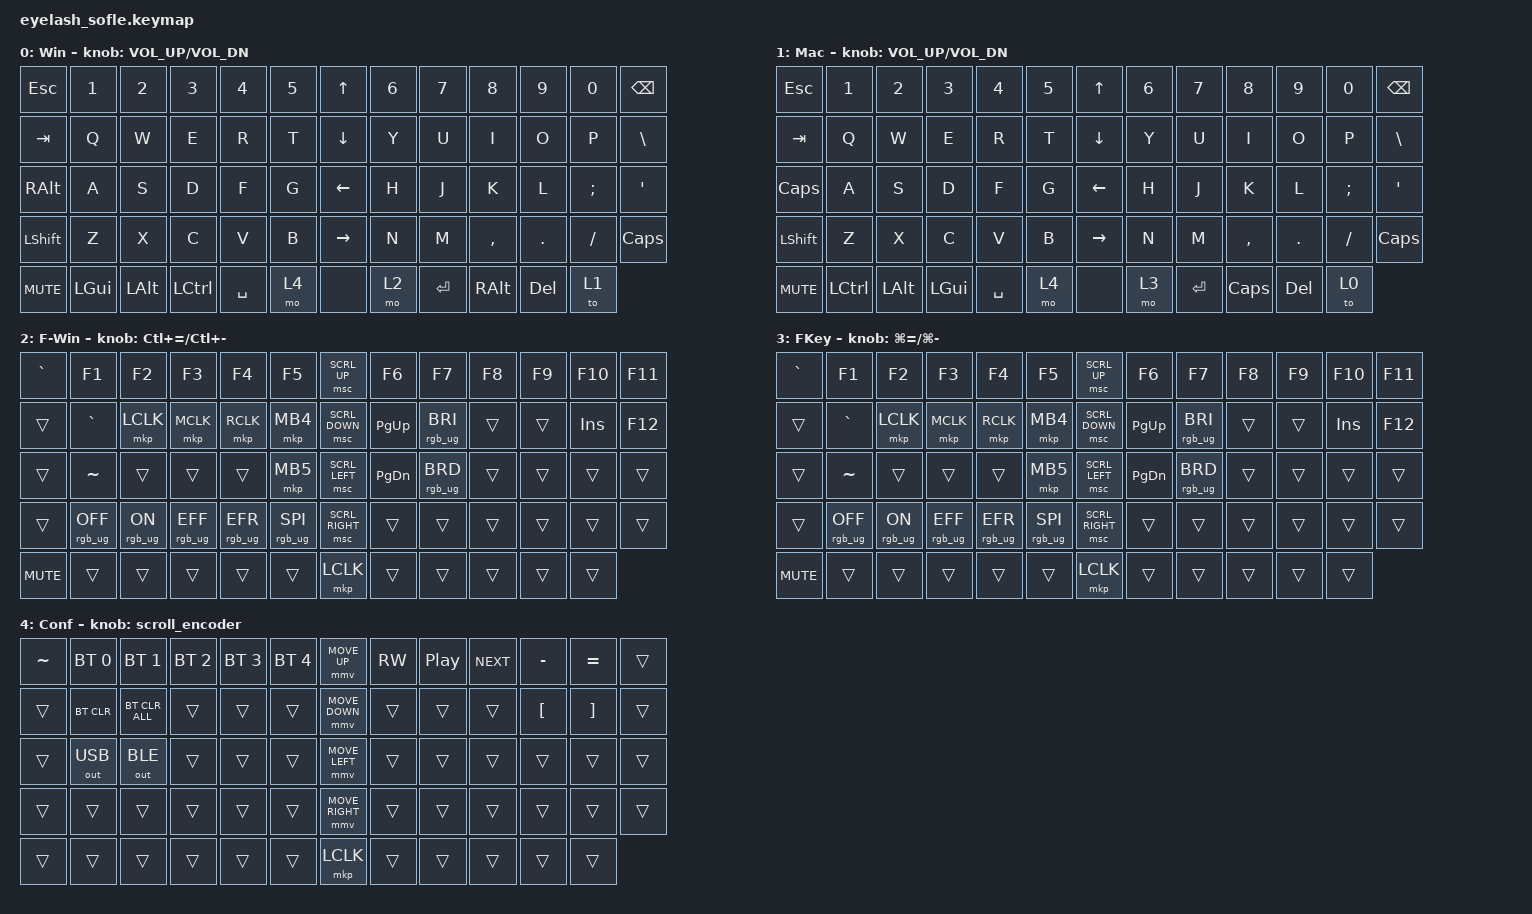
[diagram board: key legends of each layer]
#define ZMK_POINTING_DEFAULT_MOVE_VAL 1200  // 600
#define ZMK_POINTING_DEFAULT_SCRL_VAL 35    // 10

#include <input/processors.dtsi>
#include <zephyr/dt-bindings/input/input-event-codes.h>
#include <behaviors.dtsi>
#include <dt-bindings/zmk/bt.h>
#include <dt-bindings/zmk/keys.h>
#include <dt-bindings/zmk/outputs.h>
#include <dt-bindings/zmk/pointing.h>
#include <dt-bindings/zmk/rgb.h>

/ {
    zip_scroll_scaler: zip_scroll_scaler {
        compatible = "zmk,input-processor-scaler";
        #input-processor-cells = <2>;
        type = <INPUT_EV_REL>;
        codes = <INPUT_REL_WHEEL INPUT_REL_HWHEEL>;
        track-remainders;
    };
};

&mmv_input_listener { input-processors = <&zip_xy_scaler 2 1>; };

&msc_input_listener { input-processors = <&zip_scroll_scaler 2 1>; };

&msc {
    acceleration-exponent = <0>;      // 0
    time-to-max-speed-ms = <0>;       // 300
    delay-ms = <0>;                   // 0
};

&mmv {
    time-to-max-speed-ms = <400>;
    acceleration-exponent = <1>;
};

/ {
    scroll_encoder: scroll_encoder {
        compatible = "zmk,behavior-sensor-rotate";
        #sensor-binding-cells = <0>;
        bindings = <&msc SCRL_DOWN>, <&msc SCRL_UP>;

        tap-ms = <30>;
    };

    macros {
        shift_MB3: shift_MB3 {
            compatible = "zmk,behavior-macro";
            #binding-cells = <0>;
            bindings =
                <&macro_press>,
                <&kp LEFT_SHIFT>,
                <&macro_press>,
                <&mkp MB3>,
                <&macro_pause_for_release>,
                <&macro_release>,
                <&mkp MB3 &kp LEFT_SHIFT>;

            label = "SHIFT_MB3";
        };
    };

    behaviors {
    };

    keymap {
        compatible = "zmk,keymap";

        Windows {
            bindings = <
&kp ESC     &kp N1        &kp N2        &kp N3            &kp N4     &kp N5    &kp UP_ARROW     &kp N6  &kp N7     &kp N8         &kp N9      &kp N0    &kp BACKSPACE
&kp TAB     &kp Q         &kp W         &kp E             &kp R      &kp T     &kp DOWN_ARROW   &kp Y   &kp U      &kp I          &kp O       &kp P     &kp BSLH
&kp RALT    &kp A         &kp S         &kp D             &kp F      &kp G     &kp LEFT_ARROW   &kp H   &kp J      &kp K          &kp L       &kp SEMI  &kp APOS
&kp LSHFT   &kp Z         &kp X         &kp C             &kp V      &kp B     &kp RIGHT_ARROW  &kp N   &kp M      &kp COMMA      &kp DOT     &kp FSLH  &kp CAPS
&kp C_MUTE  &kp LEFT_GUI  &kp LEFT_ALT  &kp LEFT_CONTROL  &kp SPACE  &mo 4     &none            &mo 2   &kp ENTER  &kp RIGHT_ALT  &kp DELETE  &to 1
            >;

            sensor-bindings = <&inc_dec_kp C_VOLUME_UP C_VOL_DN>;
            display-name = "Win";
        };

        Mac {
            display-name = "Mac";
            bindings = <
&kp ESC     &kp N1            &kp N2        &kp N3        &kp N4     &kp N5    &kp UP_ARROW     &kp N6  &kp N7     &kp N8        &kp N9      &kp N0    &kp BACKSPACE
&kp TAB     &kp Q             &kp W         &kp E         &kp R      &kp T     &kp DOWN_ARROW   &kp Y   &kp U      &kp I         &kp O       &kp P     &kp BSLH
&kp CAPS    &kp A             &kp S         &kp D         &kp F      &kp G     &kp LEFT_ARROW   &kp H   &kp J      &kp K         &kp L       &kp SEMI  &kp APOS
&kp LSHFT   &kp Z             &kp X         &kp C         &kp V      &kp B     &kp RIGHT_ARROW  &kp N   &kp M      &kp COMMA     &kp DOT     &kp FSLH  &kp CAPS
&kp C_MUTE  &kp LEFT_CONTROL  &kp LEFT_ALT  &kp LEFT_GUI  &kp SPACE  &mo 4     &none            &mo 3   &kp ENTER  &kp CAPSLOCK  &kp DELETE  &to 0
            >;

            sensor-bindings = <&inc_dec_kp C_VOLUME_UP C_VOL_DN>;
        };

        Function-Win {
            label = "F-Win";
            display-name = "F-Win";
            bindings = <
&kp GRAVE   &kp F1           &kp F2          &kp F3           &kp F4           &kp F5             &msc SCRL_UP     &kp F6     &kp F7           &kp F8  &kp F9  &kp F10  &kp F11
&trans      &kp GRAVE        &mkp LCLK       &mkp MCLK        &mkp RCLK        &mkp MB4           &msc SCRL_DOWN   &kp PG_UP  &rgb_ug RGB_BRI  &trans  &trans  &kp INS  &kp F12
&trans      &kp TILDE        &trans          &trans           &trans           &mkp MB5           &msc SCRL_LEFT   &kp PG_DN  &rgb_ug RGB_BRD  &trans  &trans  &trans   &trans
&trans      &rgb_ug RGB_OFF  &rgb_ug RGB_ON  &rgb_ug RGB_EFF  &rgb_ug RGB_EFR  &rgb_ug RGB_SPI    &msc SCRL_RIGHT  &trans     &trans           &trans  &trans  &trans   &trans
&kp C_MUTE  &trans           &trans          &trans           &trans           &trans             &mkp LCLK        &trans     &trans           &trans  &trans  &trans
            >;

            sensor-bindings = <&inc_dec_kp LC(EQUAL) LC(MINUS)>;
        };

        Function-Mac {
            display-name = "FKey";
            bindings = <
&kp GRAVE   &kp F1           &kp F2          &kp F3           &kp F4           &kp F5             &msc SCRL_UP     &kp F6     &kp F7           &kp F8  &kp F9  &kp F10  &kp F11
&trans      &kp GRAVE        &mkp LCLK       &mkp MCLK        &mkp RCLK        &mkp MB4           &msc SCRL_DOWN   &kp PG_UP  &rgb_ug RGB_BRI  &trans  &trans  &kp INS  &kp F12
&trans      &kp TILDE        &trans          &trans           &trans           &mkp MB5           &msc SCRL_LEFT   &kp PG_DN  &rgb_ug RGB_BRD  &trans  &trans  &trans   &trans
&trans      &rgb_ug RGB_OFF  &rgb_ug RGB_ON  &rgb_ug RGB_EFF  &rgb_ug RGB_EFR  &rgb_ug RGB_SPI    &msc SCRL_RIGHT  &trans     &trans           &trans  &trans  &trans   &trans
&kp C_MUTE  &trans           &trans          &trans           &trans           &trans             &mkp LCLK        &trans     &trans           &trans  &trans  &trans
            >;

            sensor-bindings = <&inc_dec_kp LG(EQUAL) LG(MINUS)>;
            label = "F-Mac";
        };

        Config {
            bindings = <
&kp TILDE  &bt BT_SEL 0  &bt BT_SEL 1    &bt BT_SEL 2  &bt BT_SEL 3  &bt BT_SEL 4    &mmv MOVE_UP     &kp C_RW  &kp C_PLAY_PAUSE  &kp C_NEXT  &kp MINUS         &kp EQUAL          &trans
&trans     &bt BT_CLR    &bt BT_CLR_ALL  &trans        &trans        &trans          &mmv MOVE_DOWN   &trans    &trans            &trans      &kp LEFT_BRACKET  &kp RIGHT_BRACKET  &trans
&trans     &out OUT_USB  &out OUT_BLE    &trans        &trans        &trans          &mmv MOVE_LEFT   &trans    &trans            &trans      &trans            &trans             &trans
&trans     &trans        &trans          &trans        &trans        &trans          &mmv MOVE_RIGHT  &trans    &trans            &trans      &trans            &trans             &trans
&trans     &trans        &trans          &trans        &trans        &trans          &mkp LCLK        &trans    &trans            &trans      &trans            &trans
            >;

            sensor-bindings = <&scroll_encoder>;
            label = "Conf";
        };
    };
};
